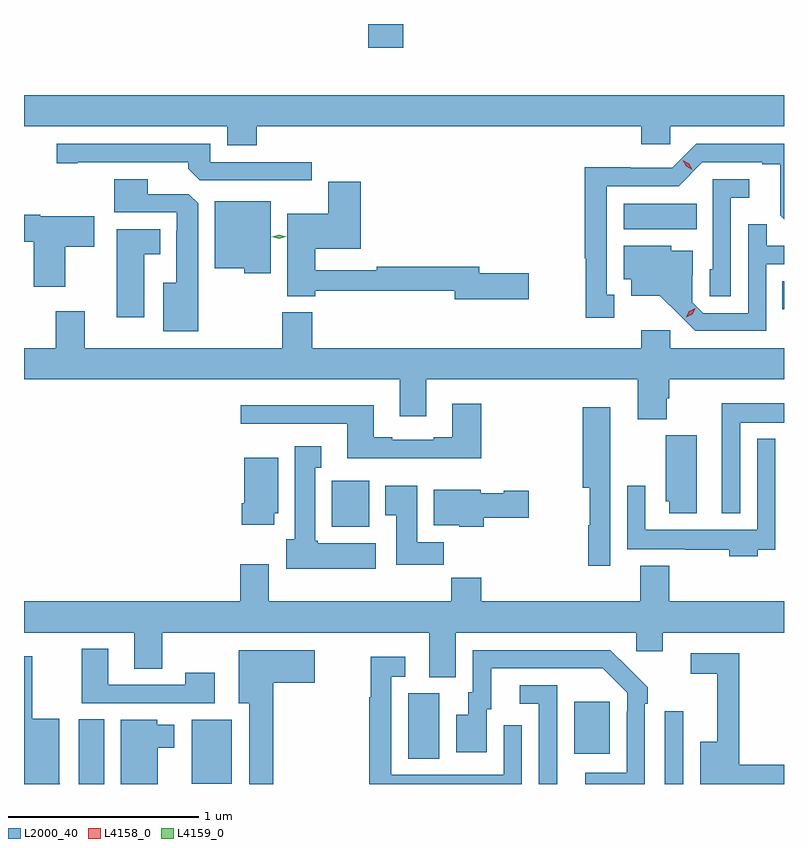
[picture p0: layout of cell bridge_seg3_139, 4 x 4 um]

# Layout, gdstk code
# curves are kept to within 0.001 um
import gdstk
lib = gdstk.Library(unit=1e-6, precision=1e-09)
def R(c, l, rs):  # rectangles x0, y0, x1, y1
    for r in rs: c.add(gdstk.rectangle(r[:2], r[2:], *l))
def P(c, l, *ps):  # polygons
    for p in ps: c.add(gdstk.Polygon(p, *l))
L2000_40 = (2000, 40)
L4158_0 = (4158, 0)
L4159_0 = (4159, 0)

bridge_seg3_139 = lib.new_cell('bridge_seg3_139')
R(bridge_seg3_139, L2000_40, [(321.428,674.811,321.562,675.152), (324.513,674.811,324.609,675.193), (322.022,674.813,322.234,675.148), (323.162,674.944,323.326,675.288), (324.035,674.969,324.223,675.244), (322.76,676.166,322.957,676.408), (325.132,677.31,325.14,677.457), (324.296,677.732,324.68,677.866), (322.952,678.687,323.135,678.811)])
P(bridge_seg3_139, L2000_40, [(322.364,678.272),(324.389,678.272),(324.389,678.179),(324.54,678.179),(324.54,678.272),(325.14,678.272),(325.14,678.436),(321.14,678.436),(321.14,678.272),(322.211,678.272),(322.211,678.173),(322.364,678.173)],
  [(324.247,677.385),(324.208,677.385),(324.208,677.958),(324.585,677.958),(324.711,678.084),(325.025,678.084),(325.025,678.072),(325.119,678.072),(325.119,677.804),(325.14,677.783),(325.14,678.18),(324.678,678.18),(324.552,678.054),(324.33,678.054),(324.33,678.056),(324.09,678.056),(324.09,677.577),(324.097,677.577),(324.097,677.265),(324.247,677.265)],
  [(322.654,678.084),(322.119,678.084),(322.119,678.18),(321.312,678.18),(321.312,678.079),(321.424,678.079),(321.424,678.084),(322.004,678.084),(322.004,678.05),(322.065,677.988),(322.654,677.988)],
  [(322.057,677.867),(322.008,677.916),(321.79,677.916),(321.79,677.995),(321.614,677.995),(321.614,677.82),(321.945,677.82),(321.945,677.723),(321.941,677.723),(321.941,677.449),(321.872,677.449),(321.872,677.195),(322.057,677.195)],
  [(324.861,677.897),(324.958,677.897),(324.958,677.994),(324.765,677.994),(324.765,677.52),(324.75,677.52),(324.75,677.377),(324.861,677.377)],
  [(323.797,677.498),(323.536,677.498),(323.536,677.534),(322.996,677.534),(322.996,677.514),(322.673,677.514),(322.673,677.627),(322.913,677.627),(322.913,677.98),(322.742,677.98),(322.742,677.812),(322.526,677.812),(322.526,677.378),(322.673,677.378),(322.673,677.406),(323.408,677.406),(323.408,677.363),(323.797,677.363)],
  [(322.438,677.878),(322.145,677.878),(322.145,677.525),(322.299,677.525),(322.299,677.498),(322.438,677.498)],
  [(321.358,677.638),(321.511,677.638),(321.511,677.8),(321.226,677.8),(321.226,677.808),(321.14,677.808),(321.14,677.666),(321.191,677.666),(321.191,677.427),(321.358,677.427)],
  [(325.047,677.547),(325.14,677.547),(325.14,677.643),(325.049,677.643),(325.049,677.756),(324.951,677.756),(324.951,677.289),(324.714,677.289),(324.657,677.346),(324.657,677.488),(324.661,677.488),(324.661,677.617),(324.546,677.617),(324.546,677.644),(324.296,677.644),(324.296,677.468),(324.335,677.468),(324.335,677.381),(324.487,677.381),(324.674,677.196),(325.047,677.196)],
  [(321.772,677.6),(321.856,677.6),(321.856,677.731),(321.629,677.731),(321.629,677.268),(321.772,677.268)],
  [(324.389,677.104),(322.658,677.104),(322.658,677.293),(322.498,677.293),(322.498,677.104),(321.46,677.104),(321.46,677.299),(321.308,677.299),(321.308,677.104),(321.14,677.104),(321.14,676.94),(323.117,676.94),(323.117,676.746),(323.257,676.746),(323.257,676.94),(324.371,676.94),(324.371,676.732),(324.523,676.732),(324.523,676.841),(324.536,676.841),(324.536,676.94),(325.14,676.94),(325.14,677.104),(324.54,677.104),(324.54,677.2),(324.389,677.2)],
  [(324.909,676.712),(325.14,676.712),(325.14,676.816),(324.812,676.816),(324.812,676.235),(324.909,676.235)],
  [(323.546,676.813),(323.393,676.813),(323.393,676.636),(323.297,676.636),(323.297,676.623),(323.077,676.623),(323.077,676.636),(322.981,676.636),(322.981,676.804),(322.281,676.804),(322.281,676.707),(322.841,676.707),(322.841,676.526),(323.546,676.526)],
  [(324.225,676.474),(324.226,676.474),(324.226,676.795),(324.08,676.795),(324.08,676.37),(324.117,676.37),(324.117,676.173),(324.109,676.173),(324.109,675.96),(324.225,675.96)],
  [(324.682,676.647),(324.518,676.647),(324.518,676.299),(324.536,676.299),(324.536,676.236),(324.682,676.236)],
  [(325.003,676.044),(325.095,676.044),(325.095,676.627),(324.999,676.627),(324.999,676.15),(324.411,676.15),(324.411,676.381),(324.315,676.381),(324.315,676.046),(324.619,676.046),(324.619,676.044),(324.851,676.044),(324.851,676.01),(325.003,676.01)],
  [(322.99,676.078),(322.686,676.078),(322.686,676.092),(322.672,676.092),(322.672,676.475),(322.705,676.475),(322.705,676.588),(322.565,676.588),(322.565,676.098),(322.52,676.098),(322.52,675.944),(322.99,675.944)],
  [(322.456,676.236),(322.477,676.236),(322.477,676.528),(322.298,676.528),(322.298,676.288),(322.286,676.288),(322.286,676.176),(322.456,676.176)],
  [(323.348,676.084),(323.209,676.084),(323.209,676.381),(323.042,676.381),(323.042,676.225),(323.099,676.225),(323.099,675.966),(323.348,675.966)],
  [(323.561,676.213),(323.797,676.213),(323.797,676.355),(323.664,676.355),(323.664,676.342),(323.544,676.342),(323.544,676.36),(323.297,676.36),(323.297,676.172),(323.43,676.172),(323.43,676.166),(323.561,676.166)],
  [(323.546,675.896),(323.389,675.896),(323.389,675.772),(322.429,675.772),(322.429,675.967),(322.277,675.967),(322.277,675.772),(321.14,675.772),(321.14,675.608),(321.719,675.608),(321.719,675.418),(321.867,675.418),(321.867,675.608),(323.273,675.608),(323.273,675.373),(323.413,675.373),(323.413,675.608),(324.363,675.608),(324.363,675.51),(324.502,675.51),(324.502,675.608),(325.14,675.608),(325.14,675.772),(324.536,675.772),(324.536,675.961),(324.383,675.961),(324.383,675.772),(323.546,675.772)],
  [(322.144,675.397),(321.988,675.397),(321.988,675.333),(321.583,675.333),(321.583,675.523),(321.443,675.523),(321.443,675.237),(322.144,675.237)],
  [(324.408,675.233),(324.423,675.233),(324.423,675.321),(324.226,675.516),(323.502,675.516),(323.502,675.294),(323.477,675.294),(323.477,675.175),(323.414,675.175),(323.414,674.979),(323.575,674.979),(323.575,675.204),(323.599,675.204),(323.599,675.42),(324.187,675.42),(324.315,675.291),(324.315,675.191),(324.312,675.191),(324.312,674.871),(324.093,674.871),(324.093,674.811),(324.408,674.811)],
  [(322.451,675.344),(322.669,675.344),(322.669,675.514),(322.271,675.514),(322.271,675.236),(322.325,675.236),(322.325,674.811),(322.451,674.811)],
  [(325.14,674.912),(324.905,674.912),(324.905,675.498),(324.648,675.498),(324.648,675.39),(324.788,675.39),(324.788,675.034),(324.698,675.034),(324.698,674.811),(325.14,674.811)],
  [(321.328,674.814),(321.325,674.814),(321.325,675.154),(321.184,675.154),(321.184,675.484),(321.14,675.484),(321.14,674.811),(321.328,674.811)],
  [(323.759,674.866),(323.76,674.866),(323.76,675.121),(323.664,675.121),(323.664,674.859),(323.073,674.859),(323.073,675.375),(323.146,675.375),(323.146,675.481),(322.965,675.481),(322.965,675.268),(322.957,675.268),(322.957,674.811),(323.759,674.811)],
  [(323.947,674.873),(323.946,674.873),(323.946,675.33),(323.748,675.33),(323.748,675.234),(323.85,675.234),(323.85,674.811),(323.947,674.811)],
  [(321.844,675.002),(321.931,675.002),(321.931,675.124),(321.84,675.124),(321.84,675.148),(321.65,675.148),(321.65,674.811),(321.844,674.811)])
P(bridge_seg3_139, L4158_0, [(324.625,677.268),(324.625,677.269),(324.642,677.298),(324.672,677.314),(324.672,677.314),(324.672,677.313),(324.656,677.284),(324.625,677.268)],
  [(324.656,678.043),(324.625,678.062),(324.608,678.095),(324.608,678.095),(324.608,678.095),(324.64,678.076),(324.657,678.043),(324.657,678.043)])
P(bridge_seg3_139, L4159_0, [(322.483,677.681),(322.445,677.691),(322.445,677.691),(322.445,677.691),(322.483,677.701),(322.521,677.692),(322.521,677.691),(322.521,677.691)])

lib.write_gds('bridge_seg3_139.gds')
